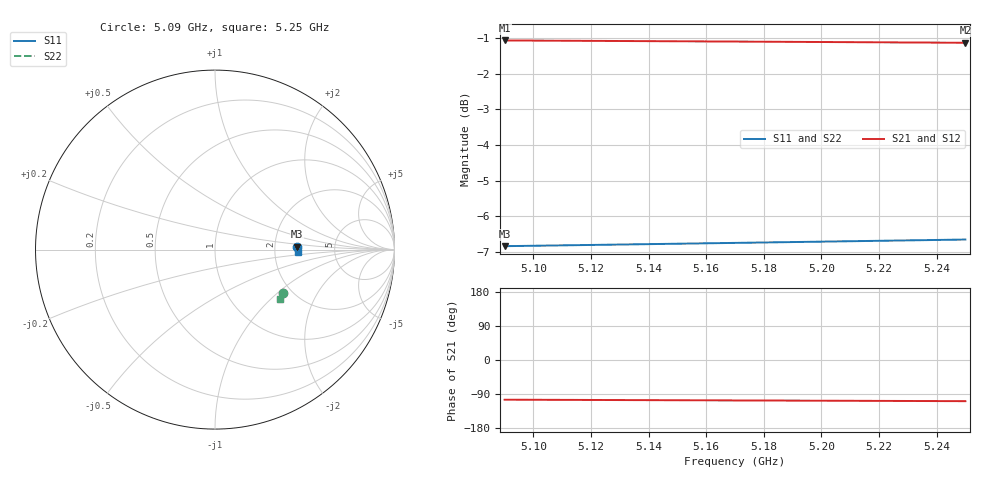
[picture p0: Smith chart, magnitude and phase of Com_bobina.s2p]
! Touchstone file exported from HFSS 2024.2.0
!  File:  D:/dev/EMBRAER/P1H/R01_Bobinas/Com_bobina/Com_bobina.aedt
!  Generated:  05:04:50 PM Nov  6, 2026
!  Design:  Com_bobina
!  Project:  Com_bobina
!  Setup:  Cupom
!  Solution:  Banda
# GHz S RI R 50.000000
! Terminal data exported
! Port[1] = Entrada
! Port[2] = Saida
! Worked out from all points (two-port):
!   17 points, 5.09 GHz to 5.25 GHz, reference 50 ohm
!   highest |S21| = -1.07 dB at 5.09 GHz (marker M1); lowest = -1.1 dB at 5.25 GHz (marker M2)
!   |S21| within 3 dB of the highest: start of sweep to end of sweep
!   lowest |S11| = -6.8 dB at 5.09 GHz (marker M3), VSWR 2.67, Z = 133 + j5.37 ohm
!   |S11| at or under -10 dB: nowhere
!   |S22| runs from -7.0 to -6.8 dB; largest |S21 - S12| = 1e-15
5.09  0.4548 0.016  -0.2248 -0.8552  -0.2248 -0.8552  0.3768 -0.2424
! Gamma 0 0 0 0
! Port Impedance 50 0 50 0
5.1  0.4555 0.014  -0.2283 -0.8539  -0.2283 -0.8539  0.3761 -0.2444
5.11  0.4561 0.012  -0.2318 -0.8525  -0.2318 -0.8525  0.3754 -0.2464
5.12  0.4568 0.0101  -0.2354 -0.8511  -0.2354 -0.8511  0.3747 -0.2483
5.13  0.4574 0.0081  -0.2389 -0.8498  -0.2389 -0.8498  0.3739 -0.2503
5.14  0.458 0.00612  -0.2424 -0.8484  -0.2424 -0.8484  0.3732 -0.2523
5.15  0.4587 0.00413  -0.2459 -0.8469  -0.2459 -0.8469  0.3724 -0.2542
5.16  0.4593 0.00213  -0.2494 -0.8455  -0.2494 -0.8455  0.3717 -0.2562
5.17  0.4599 0.000133  -0.2528 -0.844  -0.2528 -0.844  0.3709 -0.2582
5.18  0.4605 -0.00188  -0.2563 -0.8425  -0.2563 -0.8425  0.3701 -0.2602
5.19  0.4611 -0.00389  -0.2598 -0.841  -0.2598 -0.841  0.3693 -0.2621
5.2  0.4617 -0.00591  -0.2632 -0.8395  -0.2632 -0.8395  0.3685 -0.2641
5.21  0.4623 -0.00794  -0.2667 -0.838  -0.2667 -0.838  0.3676 -0.2661
5.22  0.4629 -0.00997  -0.2701 -0.8364  -0.2701 -0.8364  0.3668 -0.2681
5.23  0.4635 -0.012  -0.2735 -0.8349  -0.2735 -0.8349  0.3659 -0.27
5.24  0.4641 -0.0141  -0.2769 -0.8333  -0.2769 -0.8333  0.3651 -0.272
5.25  0.4647 -0.0161  -0.2804 -0.8317  -0.2804 -0.8317  0.3642 -0.274
